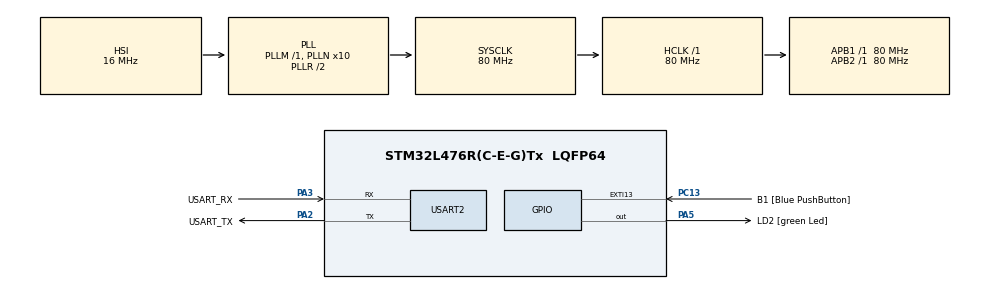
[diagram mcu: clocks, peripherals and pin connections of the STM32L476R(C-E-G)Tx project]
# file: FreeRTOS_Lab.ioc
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FREERTOS.Tasks01=defaultTask,8,128,StartDefaultTask,Default,NULL,Dynamic,NULL,NULL;Blink1Task,40,128,Blink1,Default,NULL,Dynamic,NULL,NULL;Blink2Task,24,128,Blink2,Default,NULL,Dynamic,NULL,NULL;TriggTask,40,128,Trigg,Default,NULL,Dynamic,NULL,NULL;UserbuttonTask,40,128,Userbutton,Default,NULL,Dynamic,NULL,NULL;LedTask,24,128,LedTaskEntry,Default,NULL,Dynamic,NULL,NULL
FREERTOS.configTOTAL_HEAP_SIZE=12000
FREERTOS.configUSE_NEWLIB_REENTRANT=1
Mcu.Family=STM32L4
Mcu.Name=STM32L476R(C-E-G)Tx
Mcu.Package=LQFP64
NVIC.PriorityGroup=NVIC_PRIORITYGROUP_4
NVIC.TIM1_UP_TIM16_IRQn=true\:15\:0\:false\:false\:true\:false\:false\:true\:true
NVIC.TimeBase=TIM1_UP_TIM16_IRQn
NVIC.TimeBaseIP=TIM1
PA13\ (JTMS-SWDIO).GPIO_Label=TMS
PA13\ (JTMS-SWDIO).Mode=Serial_Wire
PA13\ (JTMS-SWDIO).Signal=SYS_JTMS-SWDIO
PA14\ (JTCK-SWCLK).GPIO_Label=TCK
PA14\ (JTCK-SWCLK).Mode=Serial_Wire
PA14\ (JTCK-SWCLK).Signal=SYS_JTCK-SWCLK
PA2.GPIO_Label=USART_TX
PA2.GPIO_Mode=GPIO_MODE_AF_PP
PA2.GPIO_PuPd=GPIO_NOPULL
PA2.GPIO_Speed=GPIO_SPEED_FREQ_VERY_HIGH
PA2.Mode=Asynchronous
PA2.Signal=USART2_TX
PA3.GPIO_Label=USART_RX
PA3.GPIO_Mode=GPIO_MODE_AF_PP
PA3.GPIO_PuPd=GPIO_NOPULL
PA3.GPIO_Speed=GPIO_SPEED_FREQ_VERY_HIGH
PA3.Mode=Asynchronous
PA3.Signal=USART2_RX
PA5.GPIO_Label=LD2 [green Led]
PA5.GPIO_ModeDefaultOutputPP=GPIO_MODE_OUTPUT_PP
PA5.GPIO_PuPd=GPIO_NOPULL
PA5.GPIO_Speed=GPIO_SPEED_FREQ_LOW
PA5.Signal=GPIO_Output
PB3\ (JTDO-TRACESWO).GPIO_Label=SWO
PB3\ (JTDO-TRACESWO).Signal=SYS_JTDO-SWO
PC13.GPIO_Label=B1 [Blue PushButton]
PC13.GPIO_ModeDefaultEXTI=GPIO_MODE_IT_FALLING
PC13.GPIO_PuPd=GPIO_NOPULL
PC13.Signal=GPXTI13
PC14-OSC32_IN\ (PC14).Mode=LSE-External-Oscillator
PC14-OSC32_IN\ (PC14).Signal=RCC_OSC32_IN
PC15-OSC32_OUT\ (PC15).Mode=LSE-External-Oscillator
PC15-OSC32_OUT\ (PC15).Signal=RCC_OSC32_OUT
PH0-OSC_IN\ (PH0).Signal=RCC_OSC_IN
PH1-OSC_OUT\ (PH1).Signal=RCC_OSC_OUT
ProjectManager.HeapSize=0x200
ProjectManager.StackSize=0x400
ProjectManager.TargetToolchain=STM32CubeIDE
RCC.ADCFreq_Value=64000000
RCC.AHBFreq_Value=80000000
RCC.APB1Freq_Value=80000000
RCC.APB1TimFreq_Value=80000000
RCC.APB2Freq_Value=80000000
RCC.APB2TimFreq_Value=80000000
RCC.CortexFreq_Value=80000000
RCC.HCLKFreq_Value=80000000
RCC.HSE_VALUE=8000000
RCC.HSI_VALUE=16000000
RCC.MSI_VALUE=4000000
RCC.PLLN=10
RCC.PLLSourceVirtual=RCC_PLLSOURCE_HSI
RCC.PREFETCH_ENABLE=1
RCC.SYSCLKFreq_VALUE=80000000
RCC.SYSCLKSource=RCC_SYSCLKSOURCE_PLLCLK
RCC.USBFreq_Value=64000000
RCC.VCOOutputFreq_Value=160000000
USART2.VirtualMode-Asynchronous=VM_ASYNC
VP_FREERTOS_VS_CMSIS_V2.Mode=CMSIS_V2
VP_SYS_VS_tim1.Mode=TIM1
board=NUCLEO-L476RG

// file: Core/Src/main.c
/* USER CODE BEGIN Header */
/**
  ******************************************************************************
  * @file           : main.c
  * @brief          : Main program body
  ******************************************************************************
  * @attention
  *
  * Copyright (c) 2025 STMicroelectronics.
  * All rights reserved.
  *
  * This software is licensed under terms that can be found in the LICENSE file
  * in the root directory of this software component.
  * If no LICENSE file comes with this software, it is provided AS-IS.
  *
  ******************************************************************************
  */
/* USER CODE END Header */
#include "main.h"
#include "cmsis_os.h"
#include "usart.h"
#include "gpio.h"

void SystemClock_Config(void);
void MX_FREERTOS_Init(void);

int main(void)
{

  /* MCU Configuration--------------------------------------------------------*/

  /* Reset of all peripherals, Initializes the Flash interface and the Systick. */
  HAL_Init();

  /* Configure the system clock */
  SystemClock_Config();

  /* Initialize all configured peripherals */
  MX_GPIO_Init();
  MX_USART2_UART_Init();

  /* Init scheduler */
  osKernelInitialize();  /* Call init function for freertos objects (in cmsis_os2.c) */
  MX_FREERTOS_Init();

  /* Start scheduler */
  osKernelStart();

  /* We should never get here as control is now taken by the scheduler */

  /* Infinite loop */
  while (1)
  {

  }
}

void SystemClock_Config(void)
{
  RCC_OscInitTypeDef RCC_OscInitStruct = {0};
  RCC_ClkInitTypeDef RCC_ClkInitStruct = {0};

  /** Configure the main internal regulator output voltage
  */
  if (HAL_PWREx_ControlVoltageScaling(PWR_REGULATOR_VOLTAGE_SCALE1) != HAL_OK)
  {
    Error_Handler();
  }

  /** Initializes the RCC Oscillators according to the specified parameters
  * in the RCC_OscInitTypeDef structure.
  */
  RCC_OscInitStruct.OscillatorType = RCC_OSCILLATORTYPE_HSI;
  RCC_OscInitStruct.HSIState = RCC_HSI_ON;
  RCC_OscInitStruct.HSICalibrationValue = RCC_HSICALIBRATION_DEFAULT;
  RCC_OscInitStruct.PLL.PLLState = RCC_PLL_ON;
  RCC_OscInitStruct.PLL.PLLSource = RCC_PLLSOURCE_HSI;
  RCC_OscInitStruct.PLL.PLLM = 1;
  RCC_OscInitStruct.PLL.PLLN = 10;
  RCC_OscInitStruct.PLL.PLLP = RCC_PLLP_DIV7;
  RCC_OscInitStruct.PLL.PLLQ = RCC_PLLQ_DIV2;
  RCC_OscInitStruct.PLL.PLLR = RCC_PLLR_DIV2;
  if (HAL_RCC_OscConfig(&RCC_OscInitStruct) != HAL_OK)
  {
    Error_Handler();
  }

  /** Initializes the CPU, AHB and APB buses clocks
  */
  RCC_ClkInitStruct.ClockType = RCC_CLOCKTYPE_HCLK|RCC_CLOCKTYPE_SYSCLK
                              |RCC_CLOCKTYPE_PCLK1|RCC_CLOCKTYPE_PCLK2;
  RCC_ClkInitStruct.SYSCLKSource = RCC_SYSCLKSOURCE_PLLCLK;
  RCC_ClkInitStruct.AHBCLKDivider = RCC_SYSCLK_DIV1;
  RCC_ClkInitStruct.APB1CLKDivider = RCC_HCLK_DIV1;
  RCC_ClkInitStruct.APB2CLKDivider = RCC_HCLK_DIV1;

  if (HAL_RCC_ClockConfig(&RCC_ClkInitStruct, FLASH_LATENCY_4) != HAL_OK)
  {
    Error_Handler();
  }
}

void HAL_TIM_PeriodElapsedCallback(TIM_HandleTypeDef *htim)
{
  if (htim->Instance == TIM1)
  {
    HAL_IncTick();
  }
}

void Error_Handler(void)
{
  __disable_irq();
  while (1)
  {
  }
}

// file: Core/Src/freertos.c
/* USER CODE BEGIN Header */
/**
  ******************************************************************************
  * File Name          : freertos.c
  * Description        : Code for freertos applications
  ******************************************************************************
  * @attention
  *
  * Copyright (c) 2025 STMicroelectronics.
  * All rights reserved.
  *
  * This software is licensed under terms that can be found in the LICENSE file
  * in the root directory of this software component.
  * If no LICENSE file comes with this software, it is provided AS-IS.
  *
  ******************************************************************************
  */
/* USER CODE END Header */

#include "FreeRTOS.h"
#include "task.h"
#include "main.h"
#include "cmsis_os.h"
#include "FreeRTOS.h"
#include "semphr.h"

/* USER CODE BEGIN Variables */
uint8_t varBlink1 = 0;
uint8_t varBlink2 = 0;
uint8_t varBlink3 = 0;

SemaphoreHandle_t xButtonSemaphore = NULL;

/* USER CODE END Variables */
/* Definitions for defaultTask */
osThreadId_t defaultTaskHandle;
const osThreadAttr_t defaultTask_attributes = {
  .name = "defaultTask",
  .stack_size = 128 * 4,
  .priority = (osPriority_t) osPriorityLow,
};
/* Definitions for Blink1Task */
osThreadId_t Blink1TaskHandle;
const osThreadAttr_t Blink1Task_attributes = {
  .name = "Blink1Task",
  .stack_size = 128 * 4,
  .priority = (osPriority_t) osPriorityHigh,
};
/* Definitions for Blink2Task */
osThreadId_t Blink2TaskHandle;
const osThreadAttr_t Blink2Task_attributes = {
  .name = "Blink2Task",
  .stack_size = 128 * 4,
  .priority = (osPriority_t) osPriorityNormal,
};
/* Definitions for TriggTask */
osThreadId_t TriggTaskHandle;
const osThreadAttr_t TriggTask_attributes = {
  .name = "TriggTask",
  .stack_size = 128 * 4,
  .priority = (osPriority_t) osPriorityHigh,
};
/* Definitions for UserbuttonTask */
osThreadId_t UserbuttonTaskHandle;
const osThreadAttr_t UserbuttonTask_attributes = {
  .name = "UserbuttonTask",
  .stack_size = 128 * 4,
  .priority = (osPriority_t) osPriorityHigh,
};
/* Definitions for LedTask */
osThreadId_t LedTaskHandle;
const osThreadAttr_t LedTask_attributes = {
  .name = "LedTask",
  .stack_size = 128 * 4,
  .priority = (osPriority_t) osPriorityNormal,
};

/* USER CODE BEGIN FunctionPrototypes */
void wait_cycles(uint32_t n);

/* USER CODE END FunctionPrototypes */

void StartDefaultTask(void *argument);
void Blink1(void *argument);
void Blink2(void *argument);
void Trigg(void *argument);
void Userbutton(void *argument);
void LedTaskEntry(void *argument);

void MX_FREERTOS_Init(void); /* (MISRA C 2004 rule 8.1) */

void MX_FREERTOS_Init(void) {

  /* USER CODE BEGIN RTOS_SEMAPHORES */
	xButtonSemaphore = xSemaphoreCreateBinary();
	configASSERT(xButtonSemaphore);
	/* USER CODE END RTOS_SEMAPHORES */

  /* USER CODE END RTOS_SEMAPHORES */

  /* Create the thread(s) */
  /* creation of defaultTask */
  defaultTaskHandle = osThreadNew(StartDefaultTask, NULL, &defaultTask_attributes);

  /* creation of Blink1Task */
  Blink1TaskHandle = osThreadNew(Blink1, NULL, &Blink1Task_attributes);

  /* creation of Blink2Task */
  //Blink2TaskHandle = osThreadNew(Blink2, NULL, &Blink2Task_attributes);

  /* creation of TriggTask */
  //TriggTaskHandle = osThreadNew(Trigg, NULL, &TriggTask_attributes);

  /* creation of UserbuttonTask */
  UserbuttonTaskHandle = osThreadNew(Userbutton, NULL, &UserbuttonTask_attributes);

  /* creation of LedTask */
  //LedTaskHandle = osThreadNew(LedTaskEntry, NULL, &LedTask_attributes);

}

void StartDefaultTask(void *argument)
{
  for(;;)
  {
    osDelay(1);
  }
}

void Blink1(void *argument)
{
  TickType_t xLastWakeTime = xTaskGetTickCount();
  const TickType_t xPeriod = pdMS_TO_TICKS(100); // 100 ms blink

  for(;;)
  {
    // Om Userbutton gav semafor sedan sist (knappen nedtryckt),
    // skippa blink (håll LED av) denna period
    if (xSemaphoreTake(xButtonSemaphore, 0) == pdTRUE) {
      HAL_GPIO_WritePin(LD2_GPIO_Port, LD2_Pin, GPIO_PIN_RESET); // LED off
      vTaskDelayUntil(&xLastWakeTime, xPeriod);
      continue;
    }

    // Annars: toggla LED normalt var 100 ms
    HAL_GPIO_TogglePin(LD2_GPIO_Port, LD2_Pin);
    vTaskDelayUntil(&xLastWakeTime, xPeriod);
  }
}

  /* USER CODE END Blink1 */

void Blink2(void *argument)
{
  /* USER CODE BEGIN Blink2 */

    TickType_t xLastWakeTime;
    const TickType_t xPeriod = pdMS_TO_TICKS(20); // 20 ms period

    xLastWakeTime = xTaskGetTickCount();

    for(;;)
    {
        varBlink2 = 1;
        wait_cycles(400000);   // mer jobb
        varBlink2 = 0;

        vTaskDelayUntil(&xLastWakeTime, xPeriod);
    }
  /* USER CODE END Blink2 */
}

void Trigg(void *argument)
{
  /* USER CODE BEGIN Trigg */
  /* Infinite loop */
	TickType_t xLastWakeTime;
	  const TickType_t xPeriod = pdMS_TO_TICKS(200); // ms to ticks

	  // Initialise the xLastWakeTime variable with the current time.
	  xLastWakeTime = xTaskGetTickCount();

	  /* Infinite loop */
	  for(;;)
	  {
	    vTaskDelayUntil(&xLastWakeTime, xPeriod);
	    wait_cycles(10); // här ska du lägga breakpoint sen. hej
	  }
  /* USER CODE END Trigg */
}

void Userbutton(void *argument)
{
  TickType_t xLastWakeTime = xTaskGetTickCount();
  const TickType_t xPeriod = pdMS_TO_TICKS(20); // kolla knappen var 20 ms

  for(;;)
  {
    if (HAL_GPIO_ReadPin(B1_GPIO_Port, B1_Pin) == GPIO_PIN_RESET) {
      // Knappen nedtryckt → signalera
      xSemaphoreGive(xButtonSemaphore);

      // (valfritt) markera i SWV om du vill se blå puls i Task 2:
      // varBlink3 = 1;
      // wait_cycles(250000); // ~3 ms jobb (om du vill simulera arbete)
      // varBlink3 = 0;
    }

    vTaskDelayUntil(&xLastWakeTime, xPeriod);
  }
}

/*
void LedTaskEntry(void *argument)
{
  TickType_t xLastWakeTime = xTaskGetTickCount();
  const TickType_t xPeriod = pdMS_TO_TICKS(100); // 100 ms blink

  for(;;)
  {
    // Om semaforen gavs nyligen (knappen nedtryckt) → hoppa över toggle denna period
    if (xSemaphoreTake(xButtonSemaphore, 0) == pdTRUE) {
    	HAL_GPIO_WritePin(LD2_GPIO_Port, LD2_Pin, GPIO_PIN_RESET); // LED av
      vTaskDelayUntil(&xLastWakeTime, xPeriod);
      continue; // tillbaka till början av loopen
    }

    HAL_GPIO_TogglePin(LD2_GPIO_Port, LD2_Pin);
    vTaskDelayUntil(&xLastWakeTime, xPeriod);
  }
}
*/

/* USER CODE BEGIN Application */
void wait_cycles(uint32_t n) {
  uint32_t l = n/3; // cycles per loop is 3
  asm volatile( "0:" "SUBS %[count], 1;" "BNE 0b;" : [count] "+r" (l) );
}
/* USER CODE END Application */
